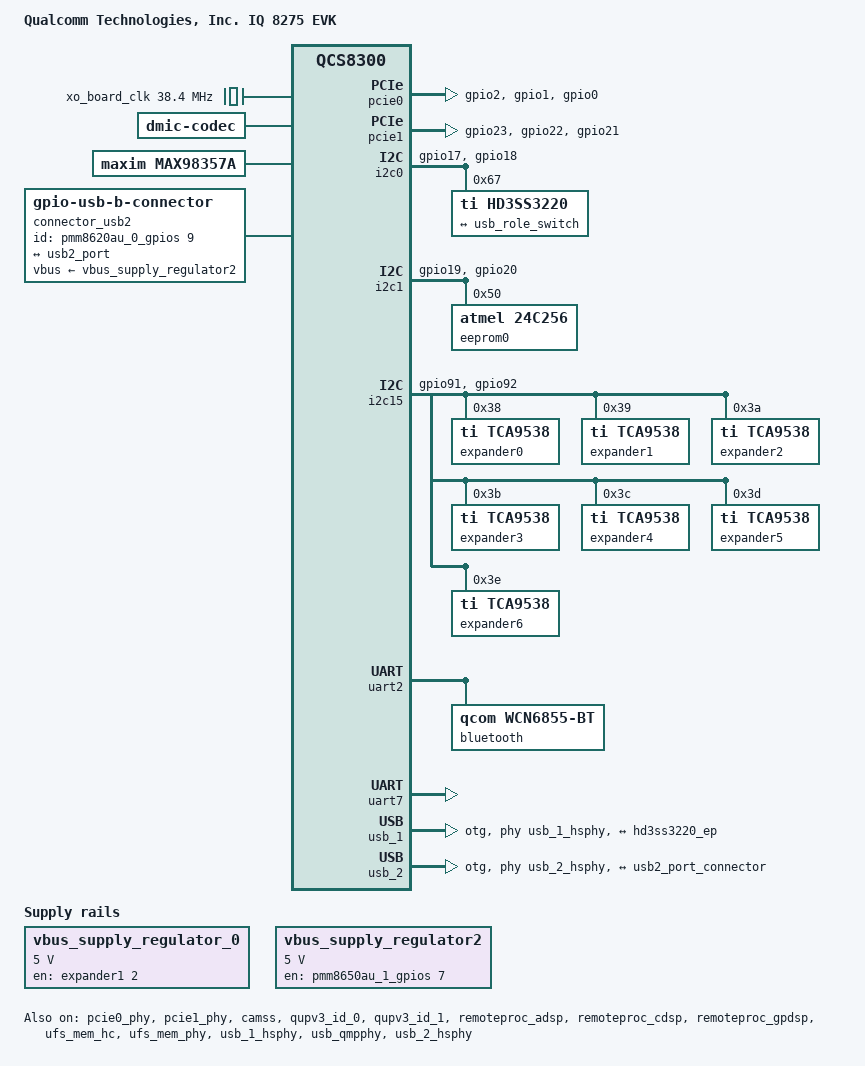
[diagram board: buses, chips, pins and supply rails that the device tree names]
// SPDX-License-Identifier: BSD-3-Clause
/*
 * Copyright (c) 2025 Qualcomm Innovation Center, Inc. All rights reserved.
 */

/dts-v1/;

#include <dt-bindings/gpio/gpio.h>
#include <dt-bindings/sound/qcom,q6afe.h>
#include <dt-bindings/regulator/qcom,rpmh-regulator.h>
#include "qcs8300.dtsi"
#include "qcs8300-pmics.dtsi"

/delete-node/ &usb_1_dwc3;
/delete-node/ &usb_2_dwc3;
/ {
	model = "Qualcomm Technologies, Inc. IQ 8275 EVK";
	compatible = "qcom,qcs8275-iq-8275-evk", "qcom,qcs8275", "qcom,qcs8300";

	qcom,msm-id = <675 0x10000>;
	qcom,board-id = <0x00010020 0>, <0x00010019 0>;

	aliases {
		i2c1 = &i2c1;
		serial0 = &uart7;
		serial1 = &uart2;
	};

	chosen {
		stdout-path = "serial0:115200n8";
	};

	clocks {
		xo_board_clk: xo-board-clk {
			compatible = "fixed-clock";
			#clock-cells = <0>;
			clock-frequency = <38400000>;
		};

		sleep_clk: sleep-clk {
			compatible = "fixed-clock";
			#clock-cells = <0>;
			clock-frequency = <32000>;
		};
	};

	dmic: audio-codec-1 {
		compatible = "dmic-codec";
		#sound-dai-cells = <0>;
		num-channels = <1>;
	};

	max98357a: audio-codec-0 {
		compatible = "maxim,max98357a";
		#sound-dai-cells = <0>;
	};

	sound {
		compatible = "qcom,qcs8275-sndcard";
		model = "QCS8275-IQ8-EVK";

		pinctrl-0 = <&hs0_mi2s_active>, <&mi2s1_active>;
		pinctrl-names = "default";

		hs0-mi2s-playback-dai-link {
			link-name = "HS0 MI2S Playback";

			codec {
				sound-dai = <&max98357a>;
			};

			cpu {
				sound-dai = <&q6apmbedai PRIMARY_MI2S_RX>;
			};

			platform {
				sound-dai = <&q6apm>;
			};
	        };

		sec-mi2s-capture-dai-link {
			link-name = "Secondary MI2S Capture";

			codec {
				sound-dai = <&dmic>;
			};

			cpu {
				sound-dai = <&q6apmbedai SECONDARY_MI2S_TX>;
			};

			platform {
				sound-dai = <&q6apm>;
			};
		};
	};
};

&apps_rsc {
	regulators-0 {
		compatible = "qcom,pmm8654au-rpmh-regulators";
		qcom,pmic-id = "a";

		vreg_s4a: smps4 {
			regulator-name = "vreg_s4a";
			regulator-min-microvolt = <1800000>;
			regulator-max-microvolt = <1800000>;
			regulator-initial-mode = <RPMH_REGULATOR_MODE_HPM>;
		};

		vreg_s9a: smps9 {
			regulator-name = "vreg_s9a";
			regulator-min-microvolt = <1352000>;
			regulator-max-microvolt = <1352000>;
			regulator-initial-mode = <RPMH_REGULATOR_MODE_HPM>;
		};

		vreg_l3a: ldo3 {
			regulator-name = "vreg_l3a";
			regulator-min-microvolt = <1200000>;
			regulator-max-microvolt = <1200000>;
			regulator-initial-mode = <RPMH_REGULATOR_MODE_HPM>;
			regulator-allow-set-load;
			regulator-allowed-modes = <RPMH_REGULATOR_MODE_LPM
						   RPMH_REGULATOR_MODE_HPM>;
		};

		vreg_l4a: ldo4 {
			regulator-name = "vreg_l4a";
			regulator-min-microvolt = <880000>;
			regulator-max-microvolt = <912000>;
			regulator-initial-mode = <RPMH_REGULATOR_MODE_HPM>;
			regulator-allow-set-load;
			regulator-allowed-modes = <RPMH_REGULATOR_MODE_LPM
						   RPMH_REGULATOR_MODE_HPM>;
		};

		vreg_l5a: ldo5 {
			regulator-name = "vreg_l5a";
			regulator-min-microvolt = <1200000>;
			regulator-max-microvolt = <1200000>;
			regulator-initial-mode = <RPMH_REGULATOR_MODE_HPM>;
			regulator-allow-set-load;
			regulator-allowed-modes = <RPMH_REGULATOR_MODE_LPM
						   RPMH_REGULATOR_MODE_HPM>;
		};

		vreg_l6a: ldo6 {
			regulator-name = "vreg_l6a";
			regulator-min-microvolt = <880000>;
			regulator-max-microvolt = <912000>;
			regulator-initial-mode = <RPMH_REGULATOR_MODE_HPM>;
			regulator-allow-set-load;
			regulator-allowed-modes = <RPMH_REGULATOR_MODE_LPM
						   RPMH_REGULATOR_MODE_HPM>;
		};

		vreg_l7a: ldo7 {
			regulator-name = "vreg_l7a";
			regulator-min-microvolt = <880000>;
			regulator-max-microvolt = <912000>;
			regulator-initial-mode = <RPMH_REGULATOR_MODE_HPM>;
			regulator-allow-set-load;
			regulator-allowed-modes = <RPMH_REGULATOR_MODE_LPM
						   RPMH_REGULATOR_MODE_HPM>;
		};

		vreg_l8a: ldo8 {
			regulator-name = "vreg_l8a";
			regulator-min-microvolt = <2504000>;
			regulator-max-microvolt = <2960000>;
			regulator-initial-mode = <RPMH_REGULATOR_MODE_HPM>;
			regulator-allow-set-load;
			regulator-allowed-modes = <RPMH_REGULATOR_MODE_LPM
						   RPMH_REGULATOR_MODE_HPM>;
		};

		vreg_l9a: ldo9 {
			regulator-name = "vreg_l9a";
			regulator-min-microvolt = <2970000>;
			regulator-max-microvolt = <3072000>;
			regulator-initial-mode = <RPMH_REGULATOR_MODE_HPM>;
			regulator-allow-set-load;
			regulator-allowed-modes = <RPMH_REGULATOR_MODE_LPM
						   RPMH_REGULATOR_MODE_HPM>;
		};
	};

	regulators-1 {
		compatible = "qcom,pmm8654au-rpmh-regulators";
		qcom,pmic-id = "c";

		vreg_s5c: smps5 {
			regulator-name = "vreg_s5c";
			regulator-min-microvolt = <1104000>;
			regulator-max-microvolt = <1104000>;
			regulator-initial-mode = <RPMH_REGULATOR_MODE_HPM>;
		};

		vreg_l1c: ldo1 {
			regulator-name = "vreg_l1c";
			regulator-min-microvolt = <300000>;
			regulator-max-microvolt = <500000>;
			regulator-initial-mode = <RPMH_REGULATOR_MODE_HPM>;
			regulator-allow-set-load;
			regulator-allowed-modes = <RPMH_REGULATOR_MODE_LPM
						   RPMH_REGULATOR_MODE_HPM>;
		};

		vreg_l2c: ldo2 {
			regulator-name = "vreg_l2c";
			regulator-min-microvolt = <900000>;
			regulator-max-microvolt = <904000>;
			regulator-initial-mode = <RPMH_REGULATOR_MODE_HPM>;
			regulator-allow-set-load;
			regulator-allowed-modes = <RPMH_REGULATOR_MODE_LPM
						   RPMH_REGULATOR_MODE_HPM>;
		};

		vreg_l4c: ldo4 {
			regulator-name = "vreg_l4c";
			regulator-min-microvolt = <1200000>;
			regulator-max-microvolt = <1200000>;
			regulator-initial-mode = <RPMH_REGULATOR_MODE_HPM>;
			regulator-allow-set-load;
			regulator-allowed-modes = <RPMH_REGULATOR_MODE_LPM
						   RPMH_REGULATOR_MODE_HPM>;
		};

		vreg_l6c: ldo6 {
			regulator-name = "vreg_l6c";
			regulator-min-microvolt = <1800000>;
			regulator-max-microvolt = <1800000>;
			regulator-initial-mode = <RPMH_REGULATOR_MODE_HPM>;
			regulator-allow-set-load;
			regulator-allowed-modes = <RPMH_REGULATOR_MODE_LPM
						   RPMH_REGULATOR_MODE_HPM>;
		};

		vreg_l7c: ldo7 {
			regulator-name = "vreg_l7c";
			regulator-min-microvolt = <1800000>;
			regulator-max-microvolt = <1800000>;
			regulator-initial-mode = <RPMH_REGULATOR_MODE_HPM>;
			regulator-allow-set-load;
			regulator-allowed-modes = <RPMH_REGULATOR_MODE_LPM
						   RPMH_REGULATOR_MODE_HPM>;
		};

		vreg_l8c: ldo8 {
			regulator-name = "vreg_l8c";
			regulator-min-microvolt = <1800000>;
			regulator-max-microvolt = <1800000>;
			regulator-initial-mode = <RPMH_REGULATOR_MODE_HPM>;
			regulator-allow-set-load;
			regulator-allowed-modes = <RPMH_REGULATOR_MODE_LPM
						   RPMH_REGULATOR_MODE_HPM>;
		};

		vreg_l9c: ldo9 {
			regulator-name = "vreg_l9c";
			regulator-min-microvolt = <1800000>;
			regulator-max-microvolt = <1800000>;
			regulator-initial-mode = <RPMH_REGULATOR_MODE_HPM>;
			regulator-allow-set-load;
			regulator-allowed-modes = <RPMH_REGULATOR_MODE_LPM
						   RPMH_REGULATOR_MODE_HPM>;
		};
	};
};

&pcie0 {
	perst-gpios = <&tlmm 2 GPIO_ACTIVE_LOW>;
	wake-gpios = <&tlmm 0 GPIO_ACTIVE_HIGH>;

	pinctrl-names = "default";
	pinctrl-0 = <&pcie0_default_state>;

	status = "okay";
};

&pcie1 {
	perst-gpios = <&tlmm 23 GPIO_ACTIVE_LOW>;
	wake-gpios = <&tlmm 21 GPIO_ACTIVE_HIGH>;

	pinctrl-names = "default";
	pinctrl-0 = <&pcie1_default_state>;

	status = "okay";
};

&pcie0_phy {
	vdda-phy-supply = <&vreg_l6a>;
	vdda-pll-supply = <&vreg_l5a>;

	status = "okay";
};

&pcie1_phy {
	vdda-phy-supply = <&vreg_l6a>;
	vdda-pll-supply = <&vreg_l5a>;

	status = "okay";
};

&camss {
	status = "okay";
};

&gpi_dma0 {
	status = "okay";
};

&gpi_dma1 {
	status = "okay";
};

&i2c0 {
	pinctrl-0 = <&qup_i2c0_default>;
	pinctrl-names = "default";
	status = "okay";

	hd3ss3220@67 {
		compatible = "ti,hd3ss3220";
		reg = <0x67>;
		interrupts = < 45 IRQ_TYPE_EDGE_FALLING>;
		wakeup-source;

		connector@0 {
			compatible = "usb-c-connector";
			label = "USB-C";
			data-role = "dual";
			power-role = "dual";

			ports {
				#address-cells = <1>;
				#size-cells = <0>;

				port@0 {
					reg = <0>;
					hd3ss3220_ep: endpoint {
						remote-endpoint = <&usb_role_switch>;
					};
				};
			};
		};
	};
};

&i2c1 {
	pinctrl-0 = <&qup_i2c1_default>;
	pinctrl-names = "default";

	status = "okay";

	eeprom0: eeprom@50 {
		compatible = "atmel,24c256";
		reg = <0x50>;
		pagesize = <64>;

		nvmem-layout {
			compatible = "fixed-layout";
			#address-cells = <1>;
			#size-cells = <1>;
		};
	};
};

&i2c15 {
	pinctrl-0 = <&qup_i2c15_default>;
	pinctrl-names = "default";
	status = "okay";

	expander0: pca953x@38 {
		compatible = "ti,tca9538";
		#gpio-cells = <2>;
		gpio-controller;
		reg = <0x38>;
	};

	expander1: pca953x@39 {
		compatible = "ti,tca9538";
		#gpio-cells = <2>;
		gpio-controller;
		reg = <0x39>;

		io-exp-hog2 {
			gpio-hog;
			gpios = <2 GPIO_ACTIVE_HIGH>;
			output-low;
			line-name = "io_exp_gpio2";
		};
	};

	expander2: pca953x@3a {
		compatible = "ti,tca9538";
		#gpio-cells = <2>;
		gpio-controller;
		reg = <0x3a>;
	};

	expander3: pca953x@3b {
		compatible = "ti,tca9538";
		#gpio-cells = <2>;
		gpio-controller;
		reg = <0x3b>;
	};

	expander4: pca953x@3c {
		compatible = "ti,tca9538";
		#gpio-cells = <2>;
		gpio-controller;
		reg = <0x3c>;
	};

	expander5: pca953x@3d {
		compatible = "ti,tca9538";
		#gpio-cells = <2>;
		gpio-controller;
		reg = <0x3d>;
	};

	expander6: pca953x@3e {
		compatible = "ti,tca9538";
		#gpio-cells = <2>;
		gpio-controller;
		reg = <0x3e>;
	};

};

&pmm8620au_0_gpios {
	usb2_id_det_default: usb2-id-det-default {
		pins = "gpio9";
		function = "normal";
		input-enable;
		bias-pull-up;
		power-source = <0>;
	};
};

&qupv3_id_0 {
	firmware-name = "qcom/qcs8300/qupv3fw.elf";
	status = "okay";
};

&qupv3_id_1 {
	firmware-name = "qcom/qcs8300/qupv3fw.elf";
	status = "okay";
};

&remoteproc_adsp {
	firmware-name = "qcom/qcs8300/adsp.mbn";
	status = "okay";
};

&remoteproc_cdsp {
	firmware-name = "qcom/qcs8300/cdsp0.mbn";
	status = "okay";
};

&remoteproc_gpdsp {
	firmware-name = "qcom/qcs8300/gpdsp0.mbn";
	status = "okay";
};

&soc {
	connector_usb2: connector-usb2 {
		compatible = "gpio-usb-b-connector";
		id-gpio = <&pmm8620au_0_gpios 9 GPIO_ACTIVE_HIGH>;
		vbus-supply = <&vbus_supply_regulator2>;
		pinctrl-names = "default";
		pinctrl-0 = <&usb2_id_det_default>;
		ports {
			#address-cells = <1>;
			#size-cells = <0>;

			port@0 {
				reg = <0>;
				usb2_port_connector: endpoint {
					remote-endpoint = <&usb2_port>;
				};
			};
		};
	};

	vbus_supply_regulator_0: vbus_supply_regulator_0 {
		compatible = "regulator-fixed";
		regulator-name = "vbus_supply_0";
		gpio = <&expander1 2 GPIO_ACTIVE_HIGH>;
		regulator-min-microvolt = <5000000>;
		regulator-max-microvolt = <5000000>;
		enable-active-high;
	};

	vbus_supply_regulator2: vbus-supply-regulator2 {
		compatible = "regulator-fixed";
		regulator-name = "vbus_supply_2";
		gpio = <&pmm8650au_1_gpios 7 GPIO_ACTIVE_HIGH>;
		regulator-min-microvolt = <5000000>;
		regulator-max-microvolt = <5000000>;
		regulator-boot-on;
		enable-active-high;
	};
};

&tlmm {

	dp_hot_plug_det: dp-hot-plug-det-state {
	/* TODO: Add the required nodes once mdss_dp0 is available.*/
	};

	pcie0_default_state: pcie0-default-state {
		perst-pins {
			pins = "gpio2";
			function = "gpio";
			drive-strength = <2>;
			bias-pull-down;
		};

		clkreq-pins {
			pins = "gpio1";
			function = "pcie0_clkreq";
			drive-strength = <2>;
			bias-pull-up;
		};

		wake-pins {
			pins = "gpio0";
			function = "gpio";
			drive-strength = <2>;
			bias-pull-up;
		};
	};

	pcie1_default_state: pcie1-default-state {
		perst-pins {
			pins = "gpio23";
			function = "gpio";
			drive-strength = <2>;
			bias-pull-down;
		};

		clkreq-pins {
			pins = "gpio22";
			function = "pcie1_clkreq";
			drive-strength = <2>;
			bias-pull-up;
		};

		wake-pins {
			pins = "gpio21";
			function = "gpio";
			drive-strength = <2>;
			bias-pull-up;
		};
	};

	qup_i2c0_default: qup-i2c0-state {
		pins = "gpio17", "gpio18";
		function = "qup0_se0";
		drive-strength = <2>;
		bias-pull-up;
	};

	qup_i2c1_default: qup-i2c1-state {
		pins = "gpio19", "gpio20";
		function = "qup0_se1";
		drive-strength = <2>;
		bias-pull-up;
	};

	qup_i2c15_default: qup-i2c15-state {
		pins = "gpio91", "gpio92";
		function = "qup1_se7";
		drive-strength = <2>;
		bias-pull-up;
	};
};

&uart2 {
	pinctrl-names = "default";
	status = "okay";

	/* HS UART Instance */
	bluetooth: bluetooth {
		compatible = "qcom,wcn6855-bt";
		pinctrl-names = "default";
		max-speed = <3200000>;
	};
};

&uart7 {
	status = "okay";
};

&ufs_mem_hc {
	reset-gpios = <&tlmm 133 GPIO_ACTIVE_LOW>;
	vcc-supply = <&vreg_l8a>;
	vcc-max-microamp = <1100000>;
	vccq-supply = <&vreg_l4c>;
	vccq-max-microamp = <1200000>;
	status = "okay";
};

&ufs_mem_phy {
	vdda-phy-supply = <&vreg_l4a>;
	vdda-pll-supply = <&vreg_l5a>;
	status = "okay";
};

&usb_1 {
	reg = <0x0 0x0a600000 0x0 0x20000>;

	interrupts-extended = <&intc GIC_SPI 292 IRQ_TYPE_LEVEL_HIGH>,
			      <&intc GIC_SPI 131 IRQ_TYPE_LEVEL_HIGH>,
			      <&pdc 14 IRQ_TYPE_EDGE_BOTH>,
			      <&pdc 15 IRQ_TYPE_EDGE_BOTH>,
			      <&pdc 12 IRQ_TYPE_LEVEL_HIGH>;
	interrupt-names = "dwc_usb3",
			  "pwr_event",
			  "dp_hs_phy_irq",
			  "dm_hs_phy_irq",
			  "ss_phy_irq";

	iommus = <&apps_smmu 0x80 0x0>;
	snps,dis_u2_susphy_quirk;
	snps,dis_enblslpm_quirk;
	phys = <&usb_1_hsphy>, <&usb_qmpphy>;
	phy-names = "usb2-phy", "usb3-phy";
	maximum-speed = "super-speed-plus";

	usb-role-switch;
	dr_mode = "otg";

	qcom,enable-rt;
	wakeup-source;
	maximum-speed = "super-speed";
	vbus_dwc3-supply = <&vbus_supply_regulator_0>;
	status = "okay";

	ports {

		#address-cells = <1>;
		#size-cells = <0>;

		port@0 {
			reg = <0>;
			usb_role_switch: endpoint {
				remote-endpoint = <&hd3ss3220_ep>;
			};
		};

	};
};

&usb_1_hsphy {
	vdda-pll-supply = <&vreg_l7a>;
	vdda18-supply = <&vreg_l7c>;
	vdda33-supply = <&vreg_l9a>;

	status = "okay";
};

&usb_qmpphy {
	vdda-phy-supply = <&vreg_l7a>;
	vdda-pll-supply = <&vreg_l5a>;

	status = "okay";
};

&usb_2 {
	reg = <0x0 0x0a400000 0x0 0x200000>;

	interrupts-extended = <&intc GIC_SPI 442 IRQ_TYPE_LEVEL_HIGH>,
				<&intc GIC_SPI 444 IRQ_TYPE_LEVEL_HIGH>,
				<&pdc 10 IRQ_TYPE_EDGE_BOTH>,
				<&pdc 9 IRQ_TYPE_EDGE_BOTH>;
	interrupt-names = "dwc_usb2",
			"pwr_event",
			"dp_hs_phy_irq",
			"dm_hs_phy_irq";

	iommus = <&apps_smmu 0x20 0x0>;
	phys = <&usb_2_hsphy>;
	phy-names = "usb2-phy";
	maximum-speed = "high-speed";

	dr_mode = "otg";
	usb-role-switch;
	qcom,enable-rt;
	wakeup-source;

	status = "okay";

	ports {

		#address-cells = <1>;
		#size-cells = <0>;

		port@0 {
			reg = <0>;
			usb2_port: endpoint {
				remote-endpoint = <&usb2_port_connector>;
			};
		};

	};
};

&usb_2_hsphy {
	vdda-pll-supply = <&vreg_l7a>;
	vdda18-supply = <&vreg_l7c>;
	vdda33-supply = <&vreg_l9a>;

	status = "okay";
};
